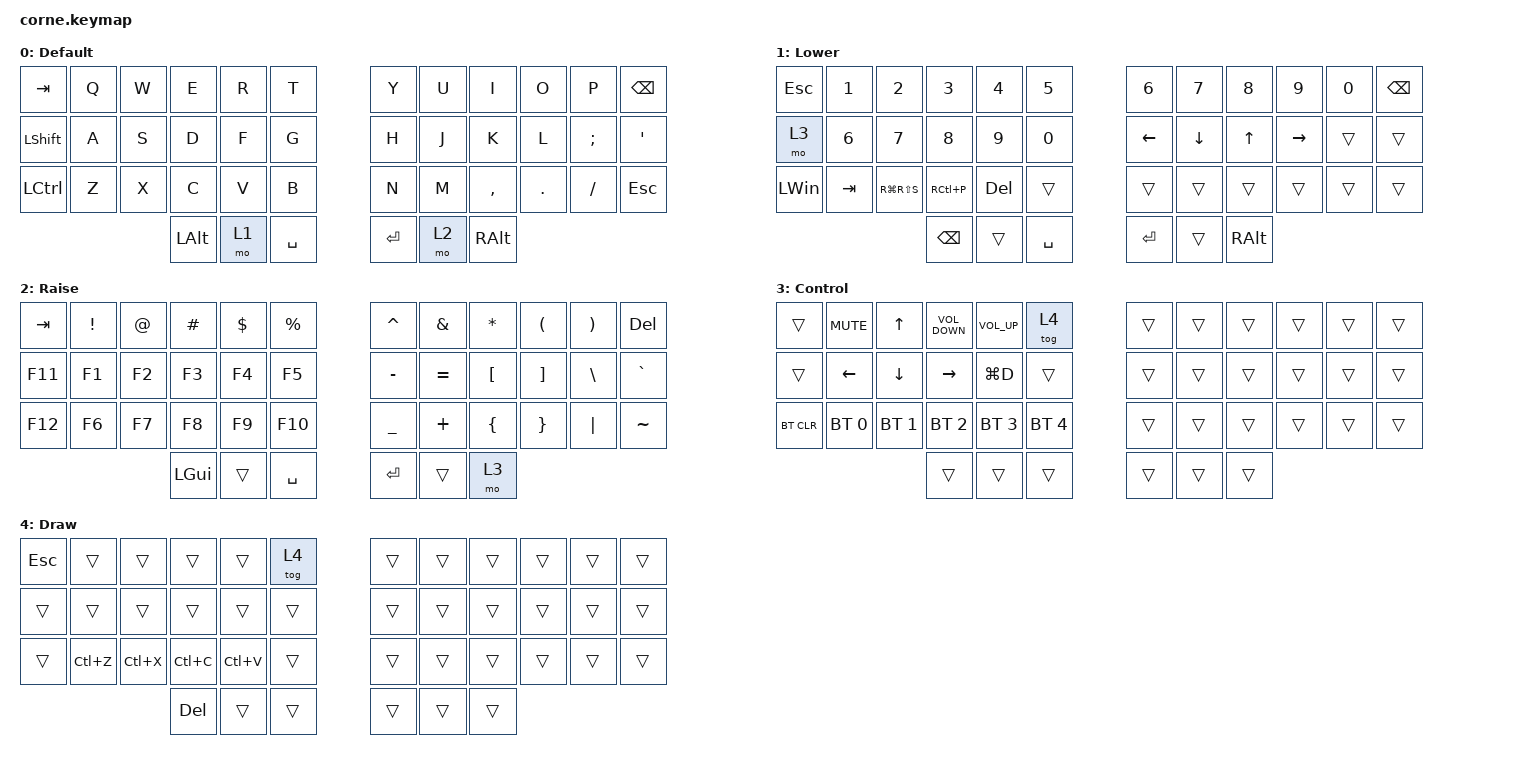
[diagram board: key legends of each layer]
/*
 * Copyright (c) 2020 The ZMK Contributors
 *
 * SPDX-License-Identifier: MIT
 */

#include <behaviors.dtsi>
#include <dt-bindings/zmk/bt.h>
#include <dt-bindings/zmk/keys.h>

/ {
    combos { compatible = "zmk,combos"; };

    keymap {
        compatible = "zmk,keymap";

        default_layer {
            display-name = "Default";

            // -----------------------------------------------------------------------------------------
            // |  TAB |  Q  |  W  |  E  |  R  |  T  |   |  Y  |  U   |  I  |  O  |  P  | BSPC |
            // | CTRL |  A  |  S  |  D  |  F  |  G  |   |  H  |  J   |  K  |  L  |  ;  |  '   |
            // | SHFT |  Z  |  X  |  C  |  V  |  B  |   |  N  |  M   |  ,  |  .  |  /  | ESC  |
            //                    | GUI | LWR | SPC |   | ENT | RSE  | ALT |

            bindings = <
&kp TAB           &kp Q  &kp W  &kp E         &kp R  &kp T        &kp Y    &kp U  &kp I      &kp O    &kp P     &kp BSPC
&kp LEFT_SHIFT    &kp A  &kp S  &kp D         &kp F  &kp G        &kp H    &kp J  &kp K      &kp L    &kp SEMI  &kp SQT
&kp LEFT_CONTROL  &kp Z  &kp X  &kp C         &kp V  &kp B        &kp N    &kp M  &kp COMMA  &kp DOT  &kp FSLH  &kp ESC
                                &kp LEFT_ALT  &mo 1  &kp SPACE    &kp RET  &mo 2  &kp RALT
            >;
        };

        lower_layer {
            display-name = "Lower";

            // -----------------------------------------------------------------------------------------
            // |  TAB |  1  |  2  |  3  |  4  |  5  |   |  6  |  7  |  8  |  9  |  0  | BSPC |
            // | BTCLR| BT1 | BT2 | BT3 | BT4 | BT5 |   | LFT | DWN |  UP | RGT |     |      |
            // | SHFT |     |     |     |     |     |   |     |     |     |     |     |      |
            //                    | GUI |     | SPC |   | ENT |     | ALT |

            bindings = <
&kp ESC       &kp N1        &kp N2         &kp N3         &kp N4      &kp N5       &kp N6    &kp N7    &kp N8    &kp N9     &kp N0  &kp BSPC
&mo 3         &kp NUMBER_6  &kp NUMBER_7   &kp N8         &kp N9      &kp N0       &kp LEFT  &kp DOWN  &kp UP    &kp RIGHT  &trans  &trans
&kp LEFT_WIN  &kp TAB       &kp RG(RS(S))  &kp RC(P)      &kp DELETE  &trans       &trans    &trans    &trans    &trans     &trans  &trans
                                           &kp BACKSPACE  &trans      &kp SPACE    &kp RET   &trans    &kp RALT
            >;
        };

        raise_layer {
            display-name = "Raise";

            // -----------------------------------------------------------------------------------------
            // |  TAB |  !  |  @  |  #  |  $  |  %  |   |  ^  |  &  |  *  |  (  |  )  | BSPC |
            // | CTRL |     |     |     |     |     |   |  -  |  =  |  [  |  ]  |  \  |  `   |
            // | SHFT |     |     |     |     |     |   |  _  |  +  |  {  |  }  | "|" |  ~   |
            //                    | GUI |     | SPC |   | ENT |     | ALT |

            bindings = <
&kp TAB  &kp EXCL  &kp AT  &kp HASH  &kp DLLR  &kp PRCNT    &kp CARET  &kp AMPS   &kp ASTRK  &kp LPAR  &kp RPAR  &kp DEL
&kp F11  &kp F1    &kp F2  &kp F3    &kp F4    &kp F5       &kp MINUS  &kp EQUAL  &kp LBKT   &kp RBKT  &kp BSLH  &kp GRAVE
&kp F12  &kp F6    &kp F7  &kp F8    &kp F9    &kp F10      &kp UNDER  &kp PLUS   &kp LBRC   &kp RBRC  &kp PIPE  &kp TILDE
                           &kp LGUI  &trans    &kp SPACE    &kp RET    &trans     &mo 3
            >;
        };

        control {
            bindings = <
&trans      &kp C_MUTE    &kp UP_ARROW  &kp C_VOLUME_DOWN  &kp C_VOLUME_UP  &tog 4          &trans  &trans  &trans  &trans  &trans  &trans
&trans      &kp LEFT      &kp DOWN      &kp RIGHT          &kp LG(D)        &trans          &trans  &trans  &trans  &trans  &trans  &trans
&bt BT_CLR  &bt BT_SEL 0  &bt BT_SEL 1  &bt BT_SEL 2       &bt BT_SEL 3     &bt BT_SEL 4    &trans  &trans  &trans  &trans  &trans  &trans
                                        &trans             &trans           &trans          &trans  &trans  &trans
            >;

            label = "Control";
        };

        draw {
            bindings = <
&kp ESCAPE  &trans     &trans     &trans      &trans     &tog 4    &trans  &trans  &trans  &trans  &trans  &trans
&trans      &trans     &trans     &trans      &trans     &trans    &trans  &trans  &trans  &trans  &trans  &trans
&trans      &kp LC(Z)  &kp LC(X)  &kp LC(C)   &kp LC(V)  &trans    &trans  &trans  &trans  &trans  &trans  &trans
                                  &kp DELETE  &trans     &trans    &trans  &trans  &trans
            >;

            label = "Draw";
        };
    };
};
